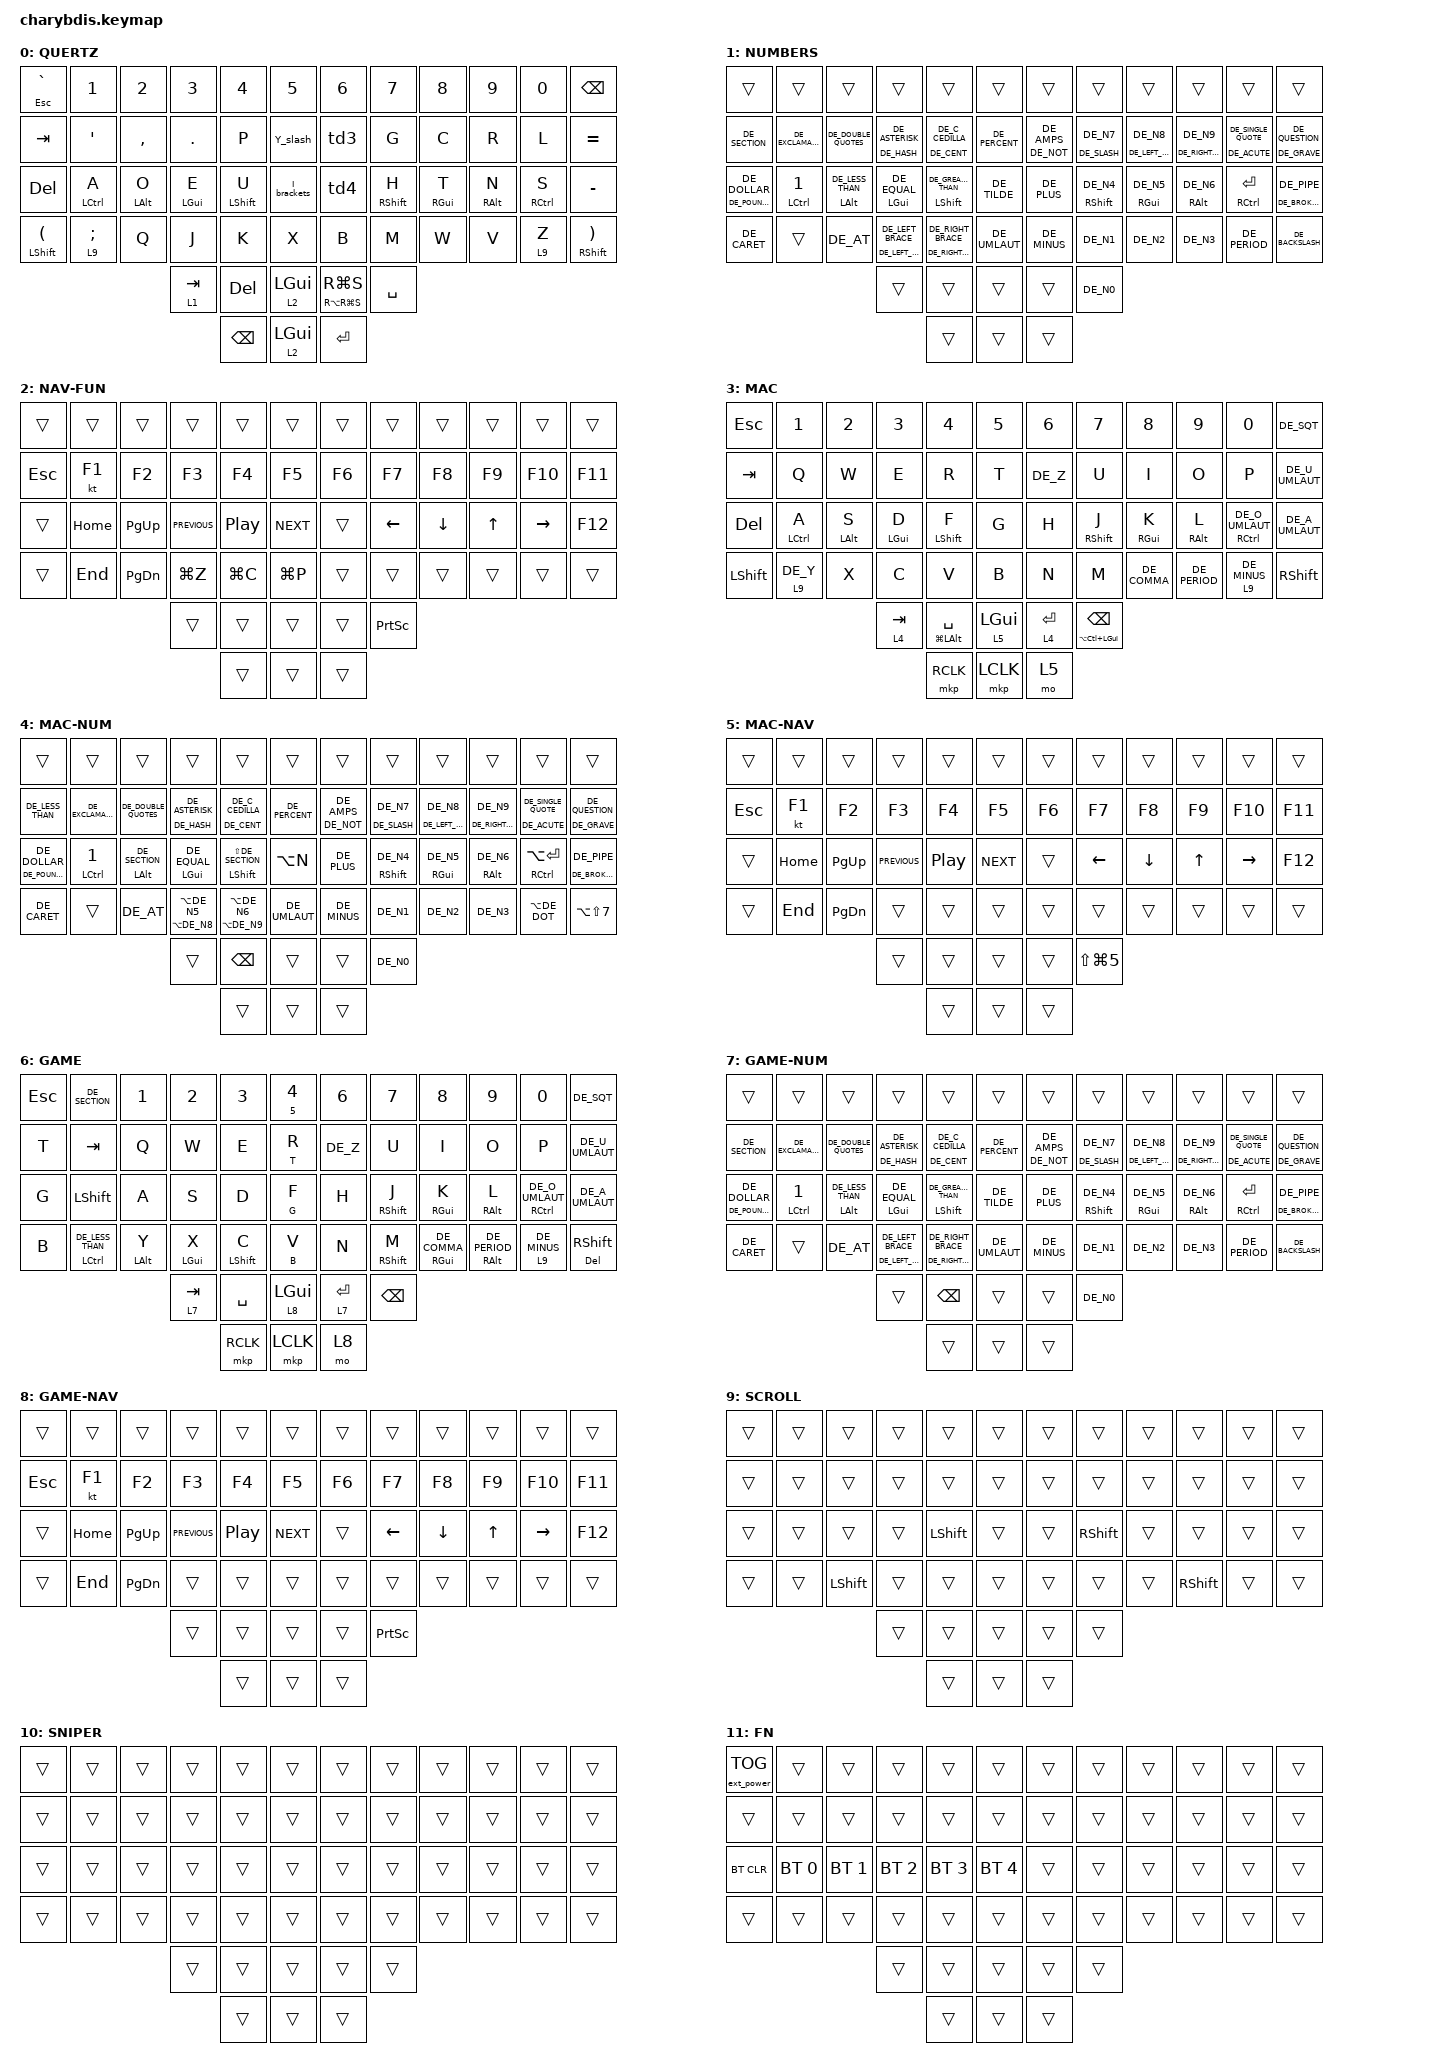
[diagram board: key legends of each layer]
#include "keys_de_swiss.h"
#include <dt-bindings/zmk/mouse.h>
#include <behaviors/mouse_keys.dtsi>
#include <behaviors.dtsi>
#include <dt-bindings/zmk/bt.h>
#include <dt-bindings/zmk/ext_power.h>
#include <dt-bindings/zmk/keys.h>
#include <dt-bindings/zmk/pointing.h>

// / {
//     chosen { zmk,matrix_transform = &default_transform; };
// };

/ {
    /* input config for mouse move mode */

    trackball_listener {
        compatible = "zmk,input-behavior-listener";
        device = <&vtrackball>;
        layers = <0 3 6>;
        evt-type = <INPUT_EV_REL>;
        x-input-code = <INPUT_REL_X>;
        y-input-code = <INPUT_REL_Y>;
        scale-multiplier = <1>;
        scale-divisor = <2>;

        // bindings = <&ib_toggle_layer 7>;
    };

    /* input config for snipe mode */

    trackball_snipe_listener {
        compatible = "zmk,input-behavior-listener";
        device = <&vtrackball>;
        layers = <10>;
        evt-type = <INPUT_EV_REL>;
        x-input-code = <INPUT_REL_X>;
        y-input-code = <INPUT_REL_Y>;
        scale-multiplier = <1>;
        scale-divisor = <4>;
    };

    /* input config for mouse scroll mode */

    trackball_scroll_listener {
        compatible = "zmk,input-behavior-listener";
        device = <&vtrackball>;
        layers = <9>;
        evt-type = <INPUT_EV_REL>;
        x-input-code = <INPUT_REL_MISC>;
        y-input-code = <INPUT_REL_WHEEL>;
        y-invert;
        bindings = <&ib_wheel_scaler 1 14>;
    };

    /* define a resolution down scaler only for INPUT_REL_WHEEL */

    ib_wheel_scaler: ib_wheel_scaler {
        compatible = "zmk,input-behavior-scaler";
        #binding-cells = <2>;
        evt-type = <INPUT_EV_REL>;
        input-code = <INPUT_REL_WHEEL>;
    };

    /* adjust cooldown waiting period for mouse key layer after activated */

    ib_toggle_layer: ib_toggle_layer {
        compatible = "zmk,input-behavior-tog-layer";
        #binding-cells = <1>;
        time-to-live-ms = <750>;
    };

    // #define QUERTZ    0
    // #define NUMBERS   1
    // #define NAV-FUN   2
    // #define MAC       3
    // #define MAC-NUM   4
    // #define MAC-NAV   5
    // #define GAME      6
    // #define GAME-NUM  7
    // #define GAME-NAV  8
    // #define SCROLL    9
    // #define SNIPER   10
    // #define FN       11

    combos {
        compatible = "zmk,combos";

        to-WIN {
            bindings = <&to 0>;
            key-positions = <50 51>;
            layers = <3 6 11>;
        };

        to-MAC {
            bindings = <&to 3>;
            key-positions = <50 51>;
            layers = <0 6 11>;
        };

        to-GAME {
            bindings = <&to 6>;
            key-positions = <47 36>;
            layers = <0 3 11>;
        };

        to-FN {
            bindings = <&to 11>;
            key-positions = <41 42>;
            layers = <0 3 6>;
        };

        caps_word {
            bindings = <&caps_word>;
            key-positions = <31 28>;
        };

        rh_leftClick {
            bindings = <&mkp LCLK>;
            key-positions = <43 44>;
        };

        rh_rightClick {
            bindings = <&mkp RCLK>;
            key-positions = <44 45>;
        };

        rh_middleClick {
            bindings = <&mkp MCLK>;
            key-positions = <44 45 43>;
        };

        lh_leftClick {
            bindings = <&mkp LCLK>;
            key-positions = <40 39>;
        };

        lh_rightClick {
            bindings = <&mkp RCLK>;
            key-positions = <38 39>;
        };

        lh_middleClick {
            bindings = <&mkp MCLK>;
            key-positions = <38 39 40>;
        };

        CAPZ {
            bindings = <&kp CAPSLOCK>;
            key-positions = <24 25>;
        };
    };

    behaviors {
        hmr: hmr {
            compatible = "zmk,behavior-hold-tap";
            label = "HMR";
            bindings = <&kp>, <&kp>;

            #binding-cells = <2>;
            tapping-term-ms = <210>;
            quick-tap-ms = <175>;
            flavor = "tap-preferred";
            hold-trigger-key-positions = <0 1 2 3 4 5 12 13 14 15 16 17 24 25 26 27 28 29 36 37 38 39 40 41 48 49 50 53 54 51 52 55>;
            hold-trigger-on-release;
            require-prior-idle-ms = <125>;
        };

        hml: hml {
            compatible = "zmk,behavior-hold-tap";
            label = "HML";
            bindings = <&kp>, <&kp>;

            #binding-cells = <2>;
            tapping-term-ms = <210>;
            quick-tap-ms = <175>;
            flavor = "tap-preferred";
            hold-trigger-key-positions = <48 49 50 53 54 51 52 55 6 7 8 9 10 11 18 19 20 21 22 23 30 31 32 33 34 35 42 43 44 45 46 47 51 52>;
            hold-trigger-on-release;
            require-prior-idle-ms = <125>;
        };

        Y_slash: Y_slash {
            compatible = "zmk,behavior-tap-dance";
            label = "Y_SLASH";
            #binding-cells = <0>;
            bindings = <&kp Y>, <&kp QMARK>, <&kp FSLH>, <&kp LG(FSLH)>;
        };

        I_brackets: I_brackets {
            compatible = "zmk,behavior-tap-dance";
            label = "I_BRACKETS";
            #binding-cells = <0>;
            bindings = <&kp I>, <&kp LEFT_BRACKET>, <&kp RS(LEFT_BRACKET)>;
        };

        F_slash: F_slash {
            compatible = "zmk,behavior-tap-dance";
            label = "F_SLASH";
            #binding-cells = <0>;
            bindings = <&kt F>, <&kt BACKSLASH>, <&kt RS(BACKSLASH)>;
        };

        D_brackets: D_brackets {
            compatible = "zmk,behavior-tap-dance";
            label = "D_BRACKETS";
            #binding-cells = <0>;
            bindings = <&kt D>, <&kt RIGHT_BRACKET>, <&kt RS(RIGHT_BRACKET)>;
        };

        td4: td4 {
            compatible = "zmk,behavior-tap-dance";
            label = "TD4";
            #binding-cells = <0>;
            bindings = <&kp D>, <&kp RIGHT_BRACKET>, <&kp RIGHT_BRACE>;
        };

        td3: td3 {
            compatible = "zmk,behavior-tap-dance";
            label = "TD3";
            #binding-cells = <0>;
            bindings = <&kp F>, <&kp BACKSLASH>, <&kp PIPE>;
        };
    };

    keymap {
        compatible = "zmk,keymap";

        default_win_layer {
            bindings = <
&hml ESCAPE GRAVE                 &kp N1               &kp N2           &kp N3           &kp N4             &kp N5            &kp N6                &kp N7              &kp N8            &kp N9            &kp N0                &kp BACKSPACE
&kp TAB                           &kp APOS             &kp COMMA        &kp DOT          &kp P              &Y_slash          &td3                  &kp G               &kp C             &kp R             &kp L                 &kp EQUAL
&kp DELETE                        &hml LEFT_CONTROL A  &hml LEFT_ALT O  &hml LEFT_GUI E  &hml LEFT_SHIFT U  &I_brackets       &td4                  &hmr RIGHT_SHIFT H  &hmr RIGHT_GUI T  &hmr RIGHT_ALT N  &hmr RIGHT_CONTROL S  &kp MINUS
&hml LEFT_SHIFT LEFT_PARENTHESIS  &lt 9 SEMI           &kp Q            &kp J            &kp K              &kp X             &kp B                 &kp M               &kp W             &kp V             &lt 9 Z               &hml RSHIFT RIGHT_PARENTHESIS
                                                                        &lt 1 TAB        &kp DELETE         &lt 2 LEFT_GUI    &hmr RA(RG(S)) RG(S)  &kp SPACE
                                                                                         &kp BACKSPACE      &lt 2 LEFT_GUI    &kp ENTER
            >;

            label = "QUERTZ";
        };

        win_raise_layer {
            bindings = <
&trans                        &trans                &trans                      &trans                              &trans                                &trans            &trans               &trans                  &trans                          &trans                           &trans                         &trans
&kp DE_SECTION                &kp DE_EXCLAMATION    &kp DE_DOUBLE_QUOTES        &hml DE_HASH DE_ASTERISK            &hml DE_CENT DE_C_CEDILLA             &kp DE_PERCENT    &hmr DE_NOT DE_AMPS  &hmr DE_SLASH DE_N7     &hmr DE_LEFT_PARENTHESIS DE_N8  &hmr DE_RIGHT_PARENTHESIS DE_N9  &hmr DE_ACUTE DE_SINGLE_QUOTE  &hmr DE_GRAVE DE_QUESTION
&hml DE_POUND_SIGN DE_DOLLAR  &hml LEFT_CONTROL N1  &hml LEFT_ALT DE_LESS_THAN  &hml LEFT_GUI DE_EQUAL              &hml LEFT_SHIFT DE_GREATER_THAN       &kp DE_TILDE      &kp DE_PLUS          &hmr RIGHT_SHIFT DE_N4  &hmr RIGHT_GUI DE_N5            &hmr RIGHT_ALT DE_N6             &hmr RIGHT_CONTROL ENTER       &hmr DE_BROKEN_BAR DE_PIPE
&kp DE_CARET                  &trans                &kp DE_AT                   &hml DE_LEFT_BRACKET DE_LEFT_BRACE  &hml DE_RIGHT_BRACKET DE_RIGHT_BRACE  &kp DE_UMLAUT     &kp DE_MINUS         &kp DE_N1               &kp DE_N2                       &kp DE_N3                        &kp DE_PERIOD                  &kp DE_BACKSLASH
                                                                                &trans                              &trans                                &trans            &trans               &kp DE_N0
                                                                                                                    &trans                                &trans            &trans
            >;

            label = "NUMBERS";
        };

        win_lower_layer {
            bindings = <
&trans      &trans    &trans         &trans          &trans            &trans        &trans  &trans           &trans          &trans        &trans           &trans
&kp ESCAPE  &kt F1    &kp F2         &kp F3          &kp F4            &kp F5        &kp F6  &kp F7           &kp F8          &kp F9        &kp F10          &kp F11
&trans      &kp HOME  &kp PAGE_UP    &kp C_PREVIOUS  &kp C_PLAY_PAUSE  &kp C_NEXT    &trans  &kp LEFT_ARROW   &kp DOWN_ARROW  &kp UP_ARROW  &kp RIGHT_ARROW  &kp F12
&trans      &kp END   &kp PAGE_DOWN  &kp LG(Z)       &kp LG(C)         &kp LG(P)     &trans  &trans           &trans          &trans        &trans           &trans
                                     &trans          &trans            &trans        &trans  &kp PRINTSCREEN
                                                     &trans            &trans        &trans
            >;

            label = "NAV-FUN";
        };

        default_mac_layer {
            label = "MAC";
            bindings = <
&kp ESCAPE      &kp N1               &kp N2           &kp N3           &kp N4                   &kp N5            &kp N6       &kp N7                           &kp N8            &kp N9            &kp N0                          &kp DE_SQT
&kp TAB         &kp Q                &kp W            &kp E            &kp R                    &kp T             &kp DE_Z     &kp U                            &kp I             &kp O             &kp P                           &kp DE_U_UMLAUT
&kp DELETE      &hml LEFT_CONTROL A  &hml LEFT_ALT S  &hml LEFT_GUI D  &hml LEFT_SHIFT F        &kp G             &kp H        &hmr RIGHT_SHIFT J               &hmr RIGHT_GUI K  &hmr RIGHT_ALT L  &hmr RIGHT_CONTROL DE_O_UMLAUT  &kp DE_A_UMLAUT
&kp LEFT_SHIFT  &lt 9 DE_Y           &kp X            &kp C            &kp V                    &kp B             &kp N        &kp M                            &kp DE_COMMA      &kp DE_PERIOD     &lt 9 DE_MINUS                  &kp RSHIFT
                                                      &lt 4 TAB        &hml LG(LEFT_ALT) SPACE  &lt 5 LEFT_GUI    &lt 4 ENTER  &hmr LA(LC(LEFT_GUI)) BACKSPACE
                                                                       &mkp RCLK                &mkp LCLK         &mo 5
            >;
        };

        mac_raise_layer {
            label = "MAC-NUM";
            bindings = <
&trans                        &trans                &trans                    &trans                    &trans                          &trans            &trans               &trans                  &trans                          &trans                           &trans                         &trans
&kp DE_LESS_THAN              &kp DE_EXCLAMATION    &kp DE_DOUBLE_QUOTES      &hml DE_HASH DE_ASTERISK  &hml DE_CENT DE_C_CEDILLA       &kp DE_PERCENT    &hmr DE_NOT DE_AMPS  &hmr DE_SLASH DE_N7     &hmr DE_LEFT_PARENTHESIS DE_N8  &hmr DE_RIGHT_PARENTHESIS DE_N9  &hmr DE_ACUTE DE_SINGLE_QUOTE  &hmr DE_GRAVE DE_QUESTION
&hml DE_POUND_SIGN DE_DOLLAR  &hml LEFT_CONTROL N1  &hml LEFT_ALT DE_SECTION  &hml LEFT_GUI DE_EQUAL    &hml LEFT_SHIFT LS(DE_SECTION)  &kp LA(N)         &kp DE_PLUS          &hmr RIGHT_SHIFT DE_N4  &hmr RIGHT_GUI DE_N5            &hmr RIGHT_ALT DE_N6             &hmr RIGHT_CONTROL LA(RETURN)  &hmr DE_BROKEN_BAR DE_PIPE
&kp DE_CARET                  &trans                &kp DE_AT                 &hml LA(DE_N8) LA(DE_N5)  &hml LA(DE_N9) LA(DE_N6)        &kp DE_UMLAUT     &kp DE_MINUS         &kp DE_N1               &kp DE_N2                       &kp DE_N3                        &kp LA(DE_DOT)                 &kp LA(LS(NUMBER_7))
                                                                              &trans                    &kp BACKSPACE                   &trans            &trans               &kp DE_N0
                                                                                                        &trans                          &trans            &trans
            >;
        };

        mac_lower_layer {
            label = "MAC-NAV";
            bindings = <
&trans      &trans    &trans         &trans          &trans            &trans        &trans  &trans                &trans          &trans        &trans           &trans
&kp ESCAPE  &kt F1    &kp F2         &kp F3          &kp F4            &kp F5        &kp F6  &kp F7                &kp F8          &kp F9        &kp F10          &kp F11
&trans      &kp HOME  &kp PAGE_UP    &kp C_PREVIOUS  &kp C_PLAY_PAUSE  &kp C_NEXT    &trans  &kp LEFT_ARROW        &kp DOWN_ARROW  &kp UP_ARROW  &kp RIGHT_ARROW  &kp F12
&trans      &kp END   &kp PAGE_DOWN  &trans          &trans            &trans        &trans  &trans                &trans          &trans        &trans           &trans
                                     &trans          &trans            &trans        &trans  &kp LS(LG(NUMBER_5))
                                                     &trans            &trans        &trans
            >;
        };

        default_game_layer {
            label = "GAME";
            bindings = <
&kp ESCAPE  &kp DE_SECTION                  &kp N1           &kp N2           &kp N3             &hml N5 N4        &kp N6       &kp N7              &kp N8                   &kp N9                    &kp N0                          &kp DE_SQT
&kp T       &kp TAB                         &kp Q            &kp W            &kp E              &hml T R          &kp DE_Z     &kp U               &kp I                    &kp O                     &kp P                           &kp DE_U_UMLAUT
&kp G       &kp LEFT_SHIFT                  &kp A            &kp S            &kp D              &hml G F          &kp H        &hmr RIGHT_SHIFT J  &hmr RIGHT_GUI K         &hmr RIGHT_ALT L          &hmr RIGHT_CONTROL DE_O_UMLAUT  &kp DE_A_UMLAUT
&kp B       &hml LEFT_CONTROL DE_LESS_THAN  &hml LEFT_ALT Y  &hml LEFT_GUI X  &hml LEFT_SHIFT C  &hml B V          &kp N        &hmr RIGHT_SHIFT M  &hmr RIGHT_GUI DE_COMMA  &hmr RIGHT_ALT DE_PERIOD  &lt 9 DE_MINUS                  &hmr DELETE RIGHT_SHIFT
                                                             &lt 7 TAB        &kp SPACE          &lt 8 LEFT_GUI    &lt 7 ENTER  &kp BACKSPACE
                                                                              &mkp RCLK          &mkp LCLK         &mo 8
            >;
        };

        game_raise_layer {
            label = "GAME-NUM";
            bindings = <
&trans                        &trans                &trans                      &trans                              &trans                                &trans            &trans               &trans                  &trans                          &trans                           &trans                         &trans
&kp DE_SECTION                &kp DE_EXCLAMATION    &kp DE_DOUBLE_QUOTES        &hml DE_HASH DE_ASTERISK            &hml DE_CENT DE_C_CEDILLA             &kp DE_PERCENT    &hmr DE_NOT DE_AMPS  &hmr DE_SLASH DE_N7     &hmr DE_LEFT_PARENTHESIS DE_N8  &hmr DE_RIGHT_PARENTHESIS DE_N9  &hmr DE_ACUTE DE_SINGLE_QUOTE  &hmr DE_GRAVE DE_QUESTION
&hml DE_POUND_SIGN DE_DOLLAR  &hml LEFT_CONTROL N1  &hml LEFT_ALT DE_LESS_THAN  &hml LEFT_GUI DE_EQUAL              &hml LEFT_SHIFT DE_GREATER_THAN       &kp DE_TILDE      &kp DE_PLUS          &hmr RIGHT_SHIFT DE_N4  &hmr RIGHT_GUI DE_N5            &hmr RIGHT_ALT DE_N6             &hmr RIGHT_CONTROL ENTER       &hmr DE_BROKEN_BAR DE_PIPE
&kp DE_CARET                  &trans                &kp DE_AT                   &hml DE_LEFT_BRACKET DE_LEFT_BRACE  &hml DE_RIGHT_BRACKET DE_RIGHT_BRACE  &kp DE_UMLAUT     &kp DE_MINUS         &kp DE_N1               &kp DE_N2                       &kp DE_N3                        &kp DE_PERIOD                  &kp DE_BACKSLASH
                                                                                &trans                              &kp BACKSPACE                         &trans            &trans               &kp DE_N0
                                                                                                                    &trans                                &trans            &trans
            >;
        };

        game_lower_layer {
            label = "GAME-NAV";
            bindings = <
&trans      &trans    &trans         &trans          &trans            &trans        &trans  &trans           &trans          &trans        &trans           &trans
&kp ESCAPE  &kt F1    &kp F2         &kp F3          &kp F4            &kp F5        &kp F6  &kp F7           &kp F8          &kp F9        &kp F10          &kp F11
&trans      &kp HOME  &kp PAGE_UP    &kp C_PREVIOUS  &kp C_PLAY_PAUSE  &kp C_NEXT    &trans  &kp LEFT_ARROW   &kp DOWN_ARROW  &kp UP_ARROW  &kp RIGHT_ARROW  &kp F12
&trans      &kp END   &kp PAGE_DOWN  &trans          &trans            &trans        &trans  &trans           &trans          &trans        &trans           &trans
                                     &trans          &trans            &trans        &trans  &kp PRINTSCREEN
                                                     &trans            &trans        &trans
            >;
        };

        scroll_layer {
            bindings = <
&trans  &trans  &trans          &trans  &trans          &trans    &trans  &trans           &trans  &trans           &trans  &trans
&trans  &trans  &trans          &trans  &trans          &trans    &trans  &trans           &trans  &trans           &trans  &trans
&trans  &trans  &trans          &trans  &kp LEFT_SHIFT  &trans    &trans  &kp RIGHT_SHIFT  &trans  &trans           &trans  &trans
&trans  &trans  &kp LEFT_SHIFT  &trans  &trans          &trans    &trans  &trans           &trans  &kp RIGHT_SHIFT  &trans  &trans
                                &trans  &trans          &trans    &trans  &trans
                                        &trans          &trans    &trans
            >;

            label = "SCROLL";
        };

        sniper_layer {
            bindings = <
&trans  &trans  &trans  &trans  &trans  &trans    &trans  &trans  &trans  &trans  &trans  &trans
&trans  &trans  &trans  &trans  &trans  &trans    &trans  &trans  &trans  &trans  &trans  &trans
&trans  &trans  &trans  &trans  &trans  &trans    &trans  &trans  &trans  &trans  &trans  &trans
&trans  &trans  &trans  &trans  &trans  &trans    &trans  &trans  &trans  &trans  &trans  &trans
                        &trans  &trans  &trans    &trans  &trans
                                &trans  &trans    &trans
            >;

            label = "SNIPER";
        };

        keeb_pref_layer {
            label = "FN";
            bindings = <
&ext_power EP_TOG  &trans        &trans        &trans        &trans        &trans          &trans  &trans  &trans  &trans  &trans  &trans
&trans             &trans        &trans        &trans        &trans        &trans          &trans  &trans  &trans  &trans  &trans  &trans
&bt BT_CLR         &bt BT_SEL 0  &bt BT_SEL 1  &bt BT_SEL 2  &bt BT_SEL 3  &bt BT_SEL 4    &trans  &trans  &trans  &trans  &trans  &trans
&trans             &trans        &trans        &trans        &trans        &trans          &trans  &trans  &trans  &trans  &trans  &trans
                                               &trans        &trans        &trans          &trans  &trans
                                                             &trans        &trans          &trans
            >;
        };
    };
};
